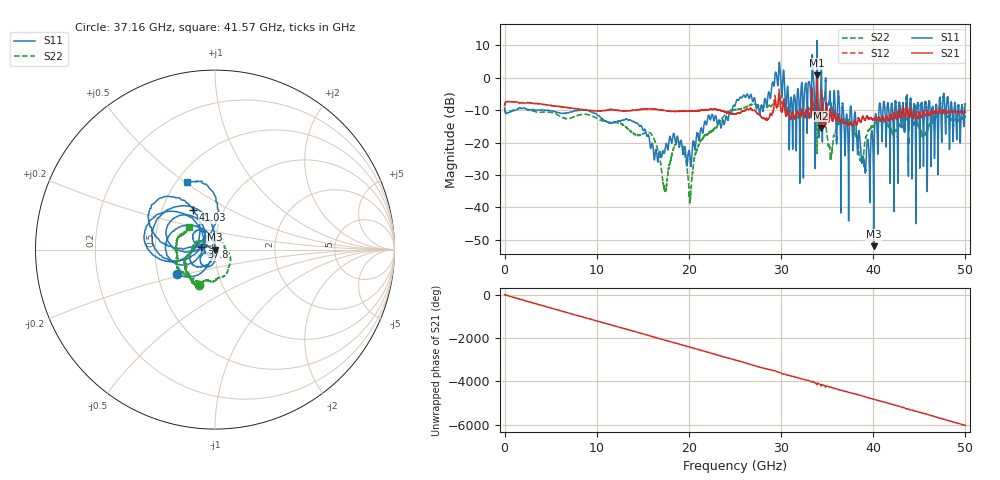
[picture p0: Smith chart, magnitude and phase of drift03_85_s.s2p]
!Created with skrf (http://scikit-rf.org).
# Hz S RI R 50.0
!freq ReS11 ImS11 ReS21 ImS21 ReS12 ImS12 ReS22 ImS22
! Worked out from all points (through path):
!   10001 points, 300 kHz to 50 GHz, reference 50 ohm
!   highest |S21| = 0.81 dB at 33.9 GHz (marker M1); lowest = -15.5 dB at 34.32 GHz (marker M2)
!   group delay of S21, straight-line fit = 335 ps
!   lowest |S11| = -51.9 dB at 40.05 GHz (marker M3), VSWR 1.01, Z = 49.8 - j0.126 ohm
!   |S11| at or under -10 dB: 4.468 GHz to 7.97 GHz (3.502 GHz wide, 56.3 % of centre); 9.016 GHz to 24.7 GHz (15.68 GHz wide, 93 % of centre); 37.62 GHz to 40.62 GHz (2.998 GHz wide, 7.66 % of centre) (the widest 3 of 60)
!   |S22| runs from -38.7 to -5.9 dB; largest |S21 - S12| = 0.11
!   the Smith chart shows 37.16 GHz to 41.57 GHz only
!   S11 on the Smith chart (normalised r, x): 37.16 GHz: 0.63, -0.18; 37.8 GHz: 0.86, +0.03; 41.03 GHz: 0.71, +0.34; 41.57 GHz: 0.57, +0.51
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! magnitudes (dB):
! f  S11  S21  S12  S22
! 300 kHz  -9.3  -8.5  -8.4  -9.4
! 8.335 GHz  -9.9  -9.8  -9.8  -11.3
! 16.67 GHz  -25.5  -9.8  -9.8  -22.9
! 17.4 GHz  -22.4  -10.1  -10.1  -34.8
! 19.09 GHz  -19.5  -10.3  -10.3  -20.2
! 20.14 GHz  -25.1  -10.3  -10.3  -38.0
! 21.22 GHz  -17.1  -10.1  -10.1  -19.7
! 25 GHz  -8.6  -11.1  -11.1  -9.9
! 29.66 GHz  -2.3  -8.3  -8.4  -7.1
! 31.08 GHz  -6.1  -12.7  -12.7  -10.5
! 33.34 GHz  0.6  -7.4  -7.5  -9.3
! 33.9 GHz  11.5  0.8  0.4  -23.4
! 34.32 GHz  -2.9  -15.5  -14.9  -11.2
! 35.35 GHz  -7.7  -10.9  -10.4  -24.9
! 37.16 GHz  -12.0  -14.1  -14.1  -13.2
! 37.8 GHz  -22.2  -14.6  -14.6  -14.6
! 38.71 GHz  -24.8  -13.4  -13.2  -25.3
! 40.05 GHz  -51.9  -12.7  -12.8  -15.1
! 41.03 GHz  -11.9  -12.0  -12.0  -13.0
! 41.57 GHz  -7.8  -12.5  -12.6  -14.5
! 41.67 GHz  -9.5  -13.2  -13.2  -14.8
! 50 GHz  -8.0  -10.5  -10.6  -12.2
